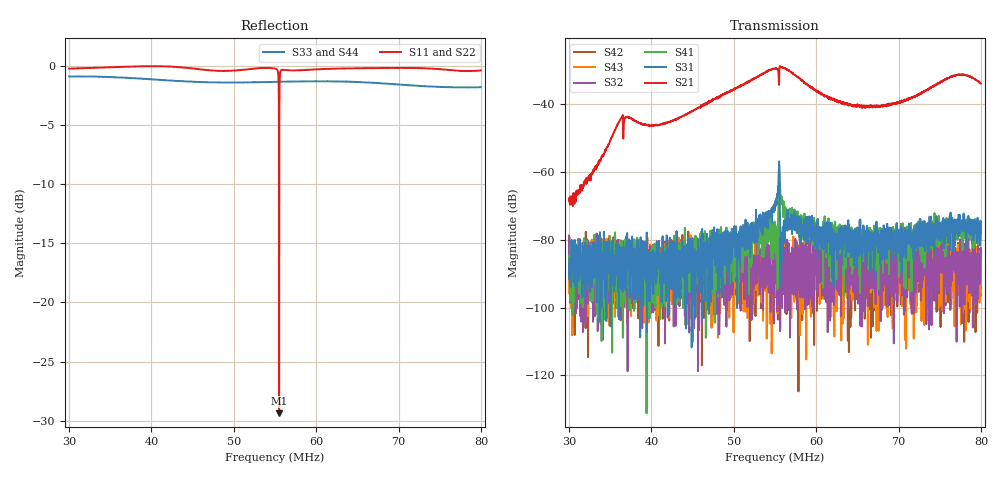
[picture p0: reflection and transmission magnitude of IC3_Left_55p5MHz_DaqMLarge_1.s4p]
#  HZ  S  DB  R  50.00
! Rohde & Schwarz Vector Network Analyzer
! Rohde-Schwarz,ZNB8-4Port,1311601044102961,2.82
! Created: UTC 2/12/2019, 11:56:38 AM
! freq[Hz]  db:S11  ang:S11  db:S12  ang:S12  db:S13  ang:S13  db:S14  ang:S14
!  db:S21  ang:S21  db:S22  ang:S22  db:S23  ang:S23  db:S24  ang:S24
!  db:S31  ang:S31  db:S32  ang:S32  db:S33  ang:S33  db:S34  ang:S34
!  db:S41  ang:S41  db:S42  ang:S42  db:S43  ang:S43  db:S44  ang:S44
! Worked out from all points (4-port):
!   2001 points, 30 MHz to 80 MHz, reference 50 ohm
!   strongest paths, dB at 30 MHz, 42.5 MHz, 55 MHz, 67.5 MHz, 80 MHz:
!     S21: -68.4, -44.8, -29.4, -40.6, -33.8
!     S31: -89.4, -94.4, -69.7, -83.3, -77.6
!     S41: -85.1, -83.0, -77.2, -82.8, -80.0
!     S32: -84.0, -85.9, -83.4, -81.9, -82.5
!     S43: -90.7, -88.2, -86.2, -104.2, -94.4
!     S42: -78.7, -87.7, -89.4, -105.1, -84.0
!   lowest |S11| = -29.4 dB at 55.5 MHz (marker M1), VSWR 1.07, Z = 47 + j1.36 ohm
!   |S11| at or under -10 dB: 55.48041 MHz to 55.52002 MHz (39.61 kHz wide, 0.0714 % of centre)
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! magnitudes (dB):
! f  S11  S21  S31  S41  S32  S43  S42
! 30 MHz  -0.3  -68.4  -89.4  -85.1  -84.0  -90.7  -78.7
! 36.3 MHz  -0.1  -44.2  -94.4  -81.8  -101.0  -92.1  -94.4
! 55.1 MHz  -0.3  -29.3  -69.6  -77.4  -91.7  -95.2  -84.3
! 55.5 MHz  -29.4  -34.2  -56.8  -57.8  -85.8  -83.1  -96.8
! 55.92 MHz  -0.4  -29.2  -76.4  -68.9  -92.7  -87.7  -90.7
! 64.72 MHz  -0.2  -40.3  -79.6  -83.5  -89.0  -86.9  -100.9
! 80 MHz  -0.4  -33.8  -77.6  -80.0  -82.5  -94.4  -84.0
